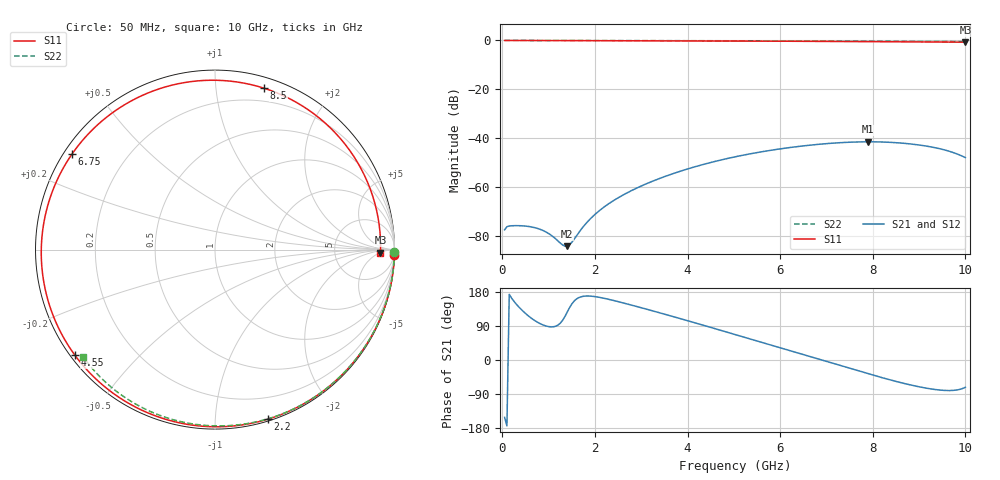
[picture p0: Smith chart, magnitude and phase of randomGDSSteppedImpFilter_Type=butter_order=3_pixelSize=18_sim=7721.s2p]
! freq	dB(S11)	phase(S11)	dB(S12)	phase(S12)
!  dB(S21)	phase(S21)	dB(S22)	phase(S22)
!S-par simulation data
#  GHz  S  DB  R 50
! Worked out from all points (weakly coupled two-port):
!   200 points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, 50 MHz to 10 GHz, reference 50 ohm
!   highest |S21| = -41.40 dB at 7.9 GHz (marker M1); lowest = -84.0 dB at 1.4 GHz (marker M2)
!   lowest |S11| = -0.7 dB at 10 GHz (marker M3), VSWR 24.70, Z = 1.17e+03 - j273 ohm
!   |S11| at or under -10 dB: nowhere
!   |S22| runs from -0.5 to 0.0 dB; largest |S21 - S12| = 0
!   S11 on the Smith chart (normalised r, x): 50 MHz: 0, -67; 2.2 GHz: 0.01, -1.36; 4.55 GHz: 0.01, -0.33; 6.75 GHz: 0.02, +0.30; 8.5 GHz: 0.09, +1.35; 10 GHz: 23, -5
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0.05  -0.00 -1.7  -77.36 -151.3  -77.36 -151.3  -0.00 -0.8
0.15  -0.00 -5.1  -75.81 173.3  -75.81 173.3  -0.00 -2.4
0.5  -0.01 -17.1  -75.83 122.9  -75.83 122.9  -0.01 -8.1
1.1  -0.04 -37.2  -80.21 87.6  -80.21 87.6  -0.02 -17.8
1.4  -0.06 -47.0  -84.04 125.9  -84.04 125.9  -0.03 -22.5
1.6  -0.07 -53.5  -79.88 160.9  -79.88 160.9  -0.03 -25.7
1.75  -0.07 -58.3  -76.05 168.1  -76.05 168.1  -0.04 -28.1
2.2  -0.09 -72.6  -68.01 162.8  -68.01 162.8  -0.04 -35.1
2.8  -0.11 -91.1  -61.24 144.5  -61.24 144.5  -0.06 -44.3
3.4  -0.14 -109.2  -56.35 124.5  -56.35 124.5  -0.07 -53.3
4.55  -0.20 -143.1  -49.61 84.3  -49.61 84.3  -0.10 -70.1
5.05  -0.23 -158.0  -47.44 66.4  -47.44 66.4  -0.12 -77.1
5.9  -0.30 175.4  -44.57 35.8  -44.57 35.8  -0.15 -88.7
6.7  -0.37 148.1  -42.66 7.1  -42.66 7.1  -0.19 -99.2
6.75  -0.37 146.3  -42.57 5.3  -42.57 5.3  -0.19 -99.9
7.4  -0.43 121.5  -41.65 -18.3  -41.65 -18.3  -0.23 -108.2
7.9  -0.48 100.5  -41.40 -36.2  -41.40 -36.2  -0.27 -114.6
8.35  -0.52 80.1  -41.59 -51.6  -41.59 -51.6  -0.31 -120.2
8.5  -0.54 73.1  -41.76 -56.4  -41.76 -56.4  -0.32 -122.0
8.9  -0.58 53.7  -42.46 -68.2  -42.46 -68.2  -0.35 -127.0
9.3  -0.62 33.8  -43.64 -77.2  -43.64 -77.2  -0.39 -132.0
10  -0.70 -1.1  -47.84 -71.9  -47.84 -71.9  -0.48 -140.9
